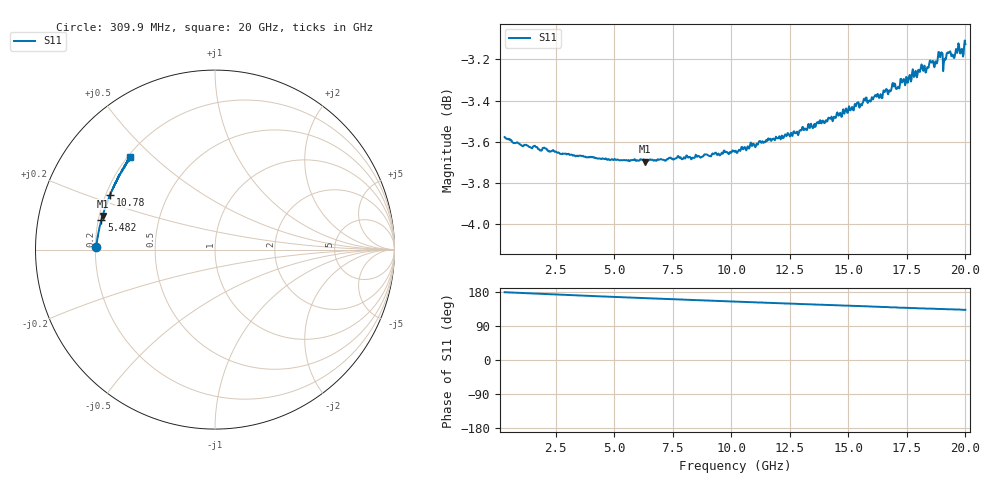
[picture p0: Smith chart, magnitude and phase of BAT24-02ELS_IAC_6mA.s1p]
! Infineon Technologies  Discrete & RF Semiconductors
! BAT24-02ELS
! IAC = 6 mA
! One-Port S-Parameters
# Hz  S  MA  R  50
!f  S11
!Hz  Mag  Ang
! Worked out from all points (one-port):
!   789 points, 309.9 MHz to 20 GHz, reference 50 ohm
!   lowest |S11| = -3.7 dB at 6.307 GHz (marker M1), VSWR 4.77, Z = 10.7 + j7.02 ohm
!   |S11| at or under -10 dB: nowhere
!   S11 on the Smith chart (normalised r, x): 309.9 MHz: 0.20, +0.01; 5.482 GHz: 0.21, +0.12; 10.78 GHz: 0.22, +0.23; 20 GHz: 0.21, +0.42
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3.0985e8  0.6624 178.9
2.783612e9  0.6563 172.2
5.232388e9  0.6538 165.9
5.482262e9  0.6539 165.3
6.30685e9  0.6533 163.3
7.70615e9  0.6553 159.9
1.015492e10  0.657 154.2
1.077961e10  0.6585 152.6
1.262869e10  0.6635 148.5
1.407796e10  0.6681 145.2
1.507746e10  0.6724 143.3
1.657671e10  0.6798 139.7
1.677661e10  0.6795 139.3
1.695152e10  0.6815 139.0
1.715142e10  0.6811 138.3
1.732634e10  0.6834 138.0
1.755122e10  0.683 137.5
1.82009e10  0.6874 136.1
1.837581e10  0.6888 135.7
1.855072e10  0.6906 135.4
1.875062e10  0.6909 135.0
1.895052e10  0.6939 134.7
1.912544e10  0.6922 134.3
1.932534e10  0.6949 133.9
1.957521e10  0.6946 133.0
1.967516e10  0.6956 133.0
1.987506e10  0.6945 132.8
2e10  0.6977 132.6
